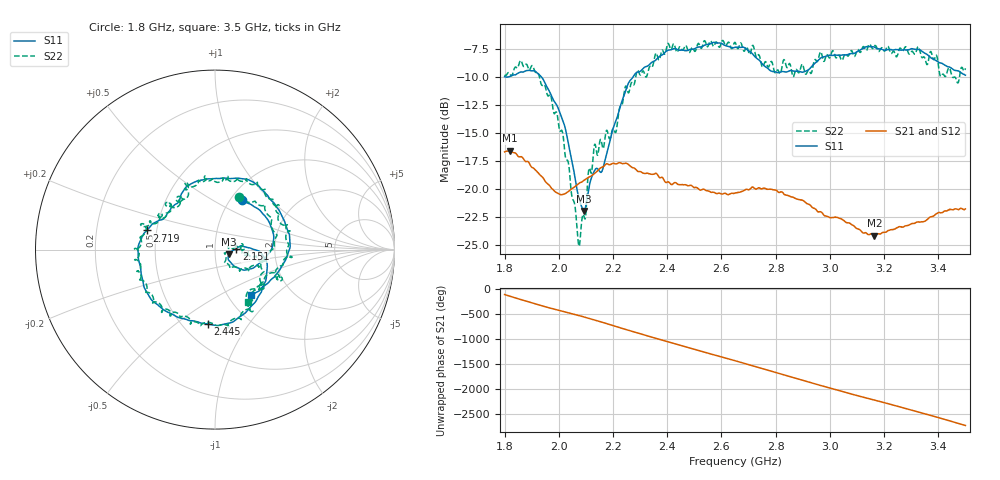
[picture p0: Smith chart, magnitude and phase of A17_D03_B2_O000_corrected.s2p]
! Created with skrf 1.9.0 (http://scikit-rf.org).
# Hz S RI R 50.0
!freq ReS11 ImS11 ReS21 ImS21 ReS12 ImS12 ReS22 ImS22
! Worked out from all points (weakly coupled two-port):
!   1601 points, 1.8 GHz to 3.5 GHz, reference 50 ohm
!   highest |S21| = -16.59 dB at 1.818 GHz (marker M1); lowest = -24.2 dB at 3.164 GHz (marker M2)
!   lowest |S11| = -22.0 dB at 2.093 GHz (marker M3), VSWR 1.17, Z = 58.2 - j2.79 ohm
!   |S11| at or under -10 dB: 1.804 GHz to 1.815 GHz (11.04 MHz wide, 0.61 % of centre); 1.936 GHz to 2.274 GHz (337.9 MHz wide, 16.1 % of centre)
!   |S22| runs from -25.1 to -6.7 dB; largest |S21 - S12| = 0.0026
!   S11 on the Smith chart (normalised r, x): 1.8 GHz: 1.13, +0.70; 2.151 GHz: 1.27, +0.01; 2.445 GHz: 0.66, -0.66; 2.719 GHz: 0.44, +0.11; 3.5 GHz: 1.27, -0.72
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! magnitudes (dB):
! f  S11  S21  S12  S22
! 1.8 GHz  -10.0  -16.7  -16.7  -9.8
! 1.818 GHz  -10.0  -16.6  -16.6  -9.7
! 1.903 GHz  -9.5  -18.1  -18.1  -9.0
! 1.968 GHz  -11.4  -19.8  -19.8  -11.6
! 2.015 GHz  -13.9  -20.5  -20.5  -15.1
! 2.072 GHz  -20.6  -19.6  -19.6  -24.9
! 2.084 GHz  -21.6  -19.4  -19.3  -23.0
! 2.093 GHz  -22.0  -19.2  -19.3  -22.4
! 2.112 GHz  -19.7  -18.9  -18.9  -18.1
! 2.151 GHz  -18.4  -18.2  -18.2  -15.8
! 2.209 GHz  -14.0  -17.8  -17.7  -15.0
! 2.258 GHz  -10.5  -17.8  -17.8  -11.4
! 2.367 GHz  -8.3  -18.9  -18.8  -8.4
! 2.445 GHz  -7.6  -19.6  -19.6  -7.3
! 2.65 GHz  -7.4  -20.4  -20.3  -6.9
! 2.719 GHz  -8.1  -19.9  -19.8  -7.3
! 2.802 GHz  -9.6  -20.1  -20.2  -9.5
! 2.934 GHz  -9.0  -21.6  -21.6  -9.5
! 3.164 GHz  -7.3  -24.2  -24.1  -7.2
! 3.217 GHz  -7.6  -23.7  -23.7  -7.4
! 3.468 GHz  -9.4  -21.8  -21.8  -10.4
! 3.5 GHz  -9.8  -21.8  -21.8  -9.2
